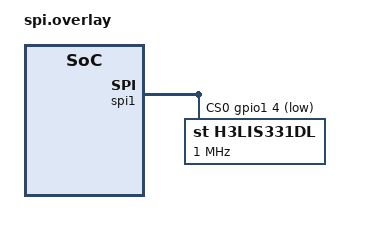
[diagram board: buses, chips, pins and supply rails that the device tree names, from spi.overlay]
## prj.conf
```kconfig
CONFIG_STDOUT_CONSOLE=y
CONFIG_I2C=y
CONFIG_SENSOR=y
CONFIG_H3LIS331DL=y
# CONFIG_LSM6DSO_TRIGGER_GLOBAL_THREAD=y
CONFIG_CBPRINTF_FP_SUPPORT=y
```

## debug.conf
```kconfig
CONFIG_DEBUG=y
# CONFIG_DEBUG_INFO=y
CONFIG_DEBUG_OPTIMIZATIONS=y
CONFIG_DEBUG_THREAD_INFO=y

CONFIG_LOG=y
# CONFIG_I2C_DUMP_MESSAGES=y
# CONFIG_I2C_LOG_LEVEL_DBG=y
```

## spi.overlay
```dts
/*
 * Copyright (c) 2025 Helbling Technik AG
 *
 * SPDX-License-Identifier: Apache-2.0
 */

&spi1 {
	cs-gpios = <&gpio1 4 GPIO_ACTIVE_LOW>;
	h3lis331dl: h3lis331dl@0 {
		compatible = "st,h3lis331dl";
		reg = <0>;
		spi-max-frequency = <1000000>;
		status = "okay";
	};
};
```

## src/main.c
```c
/*
 * Copyright (c) 2020 Yestin Sun
 *
 * SPDX-License-Identifier: Apache-2.0
 */

#include <stdio.h>
#include <zephyr/kernel.h>
#include <zephyr/device.h>
#include <zephyr/drivers/sensor.h>

// static inline float out_ev(struct sensor_value *val)
// {
// 	return (val->val1 + (float)val->val2 / 1000000);
// }

// static void fetch_and_display(const struct device *dev)
// {
// 	struct sensor_value x, y, z;
// 	static int trig_cnt;

// 	trig_cnt++;

// 	/* lsm6dso accel */
// 	sensor_sample_fetch_chan(dev, SENSOR_CHAN_ACCEL_XYZ);
// 	sensor_channel_get(dev, SENSOR_CHAN_ACCEL_X, &x);
// 	sensor_channel_get(dev, SENSOR_CHAN_ACCEL_Y, &y);
// 	sensor_channel_get(dev, SENSOR_CHAN_ACCEL_Z, &z);

// 	printf("accel x:%f ms/2 y:%f ms/2 z:%f ms/2\n",
// 			(double)out_ev(&x), (double)out_ev(&y), (double)out_ev(&z));

// 	/* lsm6dso gyro */
// 	sensor_sample_fetch_chan(dev, SENSOR_CHAN_GYRO_XYZ);
// 	sensor_channel_get(dev, SENSOR_CHAN_GYRO_X, &x);
// 	sensor_channel_get(dev, SENSOR_CHAN_GYRO_Y, &y);
// 	sensor_channel_get(dev, SENSOR_CHAN_GYRO_Z, &z);

// 	printf("gyro x:%f rad/s y:%f rad/s z:%f rad/s\n",
// 			(double)out_ev(&x), (double)out_ev(&y), (double)out_ev(&z));

// 	printf("trig_cnt:%d\n\n", trig_cnt);
// }

// static int set_sampling_freq(const struct device *dev)
// {
// 	int ret = 0;
// 	struct sensor_value odr_attr;

// 	/* set accel/gyro sampling frequency to 12.5 Hz */
// 	odr_attr.val1 = 12.5;
// 	odr_attr.val2 = 0;

// 	ret = sensor_attr_set(dev, SENSOR_CHAN_ACCEL_XYZ,
// 			SENSOR_ATTR_SAMPLING_FREQUENCY, &odr_attr);
// 	if (ret != 0) {
// 		printf("Cannot set sampling frequency for accelerometer.\n");
// 		return ret;
// 	}

// 	ret = sensor_attr_set(dev, SENSOR_CHAN_GYRO_XYZ,
// 			SENSOR_ATTR_SAMPLING_FREQUENCY, &odr_attr);
// 	if (ret != 0) {
// 		printf("Cannot set sampling frequency for gyro.\n");
// 		return ret;
// 	}

// 	return 0;
// }

// #ifdef CONFIG_LSM6DSO_TRIGGER
// static void trigger_handler(const struct device *dev,
// 			    const struct sensor_trigger *trig)
// {
// 	fetch_and_display(dev);
// }

// static void test_trigger_mode(const struct device *dev)
// {
// 	struct sensor_trigger trig;

// 	if (set_sampling_freq(dev) != 0) {
// 		return;
// 	}

// 	trig.type = SENSOR_TRIG_DATA_READY;
// 	trig.chan = SENSOR_CHAN_ACCEL_XYZ;

// 	if (sensor_trigger_set(dev, &trig, trigger_handler) != 0) {
// 		printf("Could not set sensor type and channel\n");
// 		return;
// 	}
// }

// #else
// static void test_polling_mode(const struct device *dev)
// {
// 	if (set_sampling_freq(dev) != 0) {
// 		return;
// 	}

// 	while (1) {
// 		fetch_and_display(dev);
// 		k_sleep(K_MSEC(1000));
// 	}
// }
// #endif

int main(void)
{
	const struct device *const dev = DEVICE_DT_GET_ONE(st_h3lis331dl);

	if (!device_is_ready(dev)) {
		printk("%s: device not ready.\n", dev->name);
		return 0;
	}

// #ifdef CONFIG_LSM6DSO_TRIGGER
// 	printf("Testing LSM6DSO sensor in trigger mode.\n\n");
// 	test_trigger_mode(dev);
// #else
// 	printf("Testing LSM6DSO sensor in polling mode.\n\n");
// 	test_polling_mode(dev);
// #endif

	return 0;
}
```
